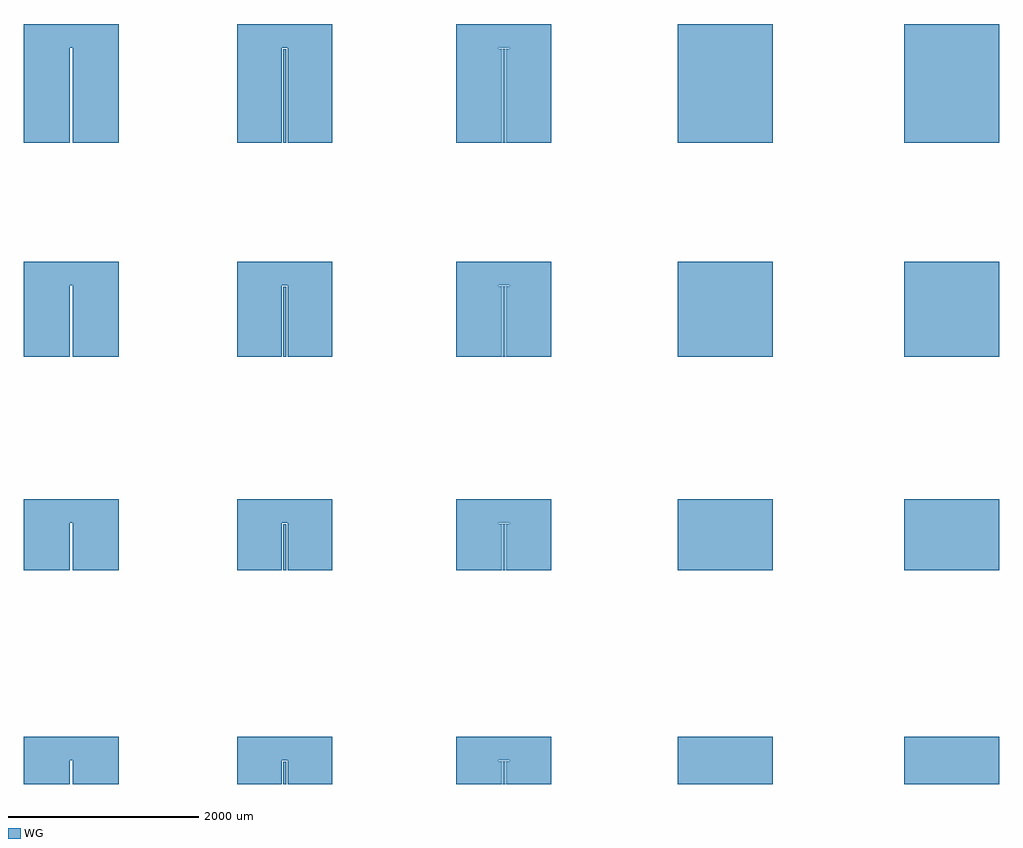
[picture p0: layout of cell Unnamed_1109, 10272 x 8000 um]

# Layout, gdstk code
import gdstk
lib = gdstk.Library(unit=1e-6, precision=1e-09)
def R(c, l, rs):  # rectangles x0, y0, x1, y1
    for r in rs: c.add(gdstk.rectangle(r[:2], r[2:], *l))
def A(c, l, x, y, w, h, nx, ny, dx, dy):  # array of equal rectangles
    R(c, l, [(x+i*dx, y+j*dy, x+i*dx+w, y+j*dy+h) for i in range(nx) for j in range(ny)])
def P(c, l, *ps):  # polygons
    for p in ps: c.add(gdstk.Polygon(p, *l))
WG = (1, 0)

unnamed_1112 = lib.new_cell('Unnamed_1112')
A(unnamed_1112, WG, 4504, -250, 30, 242, 3, 1, 38, 0)
A(unnamed_1112, WG, 6769, -250, 30, 246, 7, 1, 34, 0)
A(unnamed_1112, WG, 9033, -250, 30, 248, 15, 1, 32, 0)
A(unnamed_1112, WG, 4504, 2000, 30, 492, 3, 1, 38, 0)
A(unnamed_1112, WG, 6769, 2000, 30, 496, 7, 1, 34, 0)
A(unnamed_1112, WG, 9033, 2000, 30, 498, 15, 1, 32, 0)
A(unnamed_1112, WG, 4504, 4250, 30, 742, 3, 1, 38, 0)
A(unnamed_1112, WG, 6769, 4250, 30, 746, 7, 1, 34, 0)
A(unnamed_1112, WG, 9033, 4250, 30, 748, 15, 1, 32, 0)
A(unnamed_1112, WG, 4504, 6500, 30, 992, 3, 1, 38, 0)
A(unnamed_1112, WG, 6769, 6500, 30, 996, 7, 1, 34, 0)
A(unnamed_1112, WG, 9033, 6500, 30, 998, 15, 1, 32, 0)
R(unnamed_1112, WG, [(2235,-250,2265,-16), (2235,2000,2265,2484), (2235,4250,2265,4984), (2235,6500,2265,7484)])

unnamed_1111 = lib.new_cell('Unnamed_1111')
P(unnamed_1111, WG, [(8772,6500),(8772,7750),(9772,7750),(9772,6500),(9513,6500),(9513,7500),(9031,7500),(9031,6500)],
  [(6386,6500),(6386,7750),(7386,7750),(7386,6500),(7007,6500),(7007,7500),(6765,7500),(6765,6500)],
  [(4057,6500),(4057,7750),(5057,7750),(5057,6500),(4618,6500),(4618,7500),(4496,7500),(4496,6500)],
  [(-500,6500),(-500,7750),(500,7750),(500,6500),(16,6500),(16,7500),(-16,7500),(-16,6500)],
  [(6386,4250),(6386,5250),(7386,5250),(7386,4250),(7007,4250),(7007,5000),(6765,5000),(6765,4250)],
  [(4057,4250),(4057,5250),(5057,5250),(5057,4250),(4618,4250),(4618,5000),(4496,5000),(4496,4250)],
  [(8772,4250),(8772,5250),(9772,5250),(9772,4250),(9513,4250),(9513,5000),(9031,5000),(9031,4250)],
  [(1750,4250),(1750,5250),(2750,5250),(2750,4250),(2281,4250),(2281,5000),(2219,5000),(2219,4250)],
  [(6386,2000),(6386,2750),(7386,2750),(7386,2000),(7007,2000),(7007,2500),(6765,2500),(6765,2000)],
  [(-500,4250),(-500,5250),(500,5250),(500,4250),(16,4250),(16,5000),(-16,5000),(-16,4250)],
  [(8772,2000),(8772,2750),(9772,2750),(9772,2000),(9513,2000),(9513,2500),(9031,2500),(9031,2000)],
  [(4057,2000),(4057,2750),(5057,2750),(5057,2000),(4618,2000),(4618,2500),(4496,2500),(4496,2000)],
  [(1750,2000),(1750,2750),(2750,2750),(2750,2000),(2281,2000),(2281,2500),(2219,2500),(2219,2000)],
  [(-500,2000),(-500,2750),(500,2750),(500,2000),(16,2000),(16,2500),(-16,2500),(-16,2000)],
  [(4057,-250),(4057,250),(5057,250),(5057,-250),(4618,-250),(4618,0),(4496,0),(4496,-250)],
  [(1750,6500),(1750,7750),(2750,7750),(2750,6500),(2281,6500),(2281,7500),(2219,7500),(2219,6500)],
  [(-500,-250),(-500,250),(500,250),(500,-250),(16,-250),(16,0),(-16,0),(-16,-250)],
  [(6386,-250),(6386,250),(7386,250),(7386,-250),(7007,-250),(7007,0),(6765,0),(6765,-250)],
  [(1750,-250),(1750,250),(2750,250),(2750,-250),(2281,-250),(2281,0),(2219,0),(2219,-250)],
  [(8772,-250),(8772,250),(9772,250),(9772,-250),(9513,-250),(9513,0),(9031,0),(9031,-250)])

unnamed_1109 = lib.new_cell('Unnamed_1109')
unnamed_1109.add(gdstk.Reference(unnamed_1112, (0,0)))
unnamed_1109.add(gdstk.Reference(unnamed_1111, (0,0)))

lib.write_gds('Unnamed_1109.gds')
